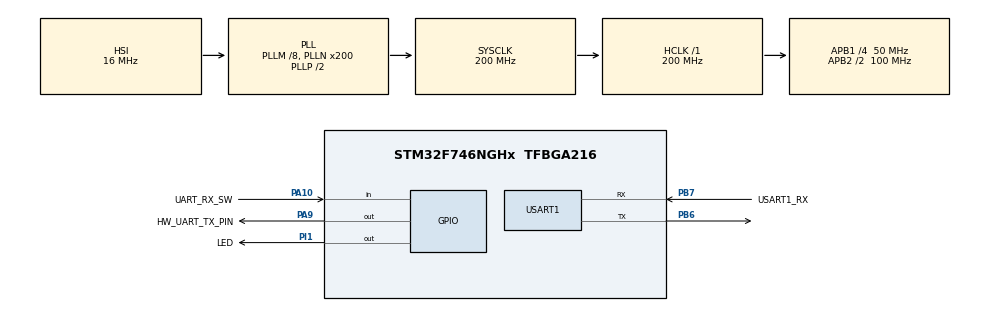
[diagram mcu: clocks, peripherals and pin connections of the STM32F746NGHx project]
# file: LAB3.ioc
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Mcu.Family=STM32F7
Mcu.Name=STM32F746NGHx
Mcu.Package=TFBGA216
NVIC.PriorityGroup=NVIC_PRIORITYGROUP_4
NVIC.TIM1_UP_TIM10_IRQn=true\:15\:0\:false\:false\:true\:false\:true
NVIC.TIM2_IRQn=true\:0\:0\:false\:false\:true\:true\:true
NVIC.TimeBase=TIM1_UP_TIM10_IRQn
NVIC.TimeBaseIP=TIM1
PA10.GPIO_Label=UART_RX_SW
PA10.Signal=GPIO_Input
PA9.GPIO_Label=HW_UART_TX_PIN
PA9.GPIO_Speed=GPIO_SPEED_FREQ_VERY_HIGH
PA9.PinState=GPIO_PIN_SET
PA9.Signal=GPIO_Output
PB6.Mode=Asynchronous
PB6.Signal=USART1_TX
PB7.GPIO_Label=USART1_RX
PB7.Mode=Asynchronous
PB7.Signal=USART1_RX
PI1.GPIO_Label=LED
PI1.GPIO_Speed=GPIO_SPEED_FREQ_VERY_HIGH
PI1.PinState=GPIO_PIN_SET
PI1.Signal=GPIO_Output
ProjectManager.HeapSize=0x200
ProjectManager.StackSize=0x400
ProjectManager.TargetToolchain=STM32CubeIDE
RCC.AHBFreq_Value=200000000
RCC.APB1CLKDivider=RCC_HCLK_DIV4
RCC.APB1Freq_Value=50000000
RCC.APB1TimFreq_Value=100000000
RCC.APB2CLKDivider=RCC_HCLK_DIV2
RCC.APB2Freq_Value=100000000
RCC.APB2TimFreq_Value=200000000
RCC.CortexFreq_Value=200000000
RCC.HCLKFreq_Value=200000000
RCC.HSE_VALUE=25000000
RCC.HSI_VALUE=16000000
RCC.LSE_VALUE=32768
RCC.PLLM=8
RCC.PLLN=200
RCC.SYSCLKFreq_VALUE=200000000
RCC.SYSCLKSource=RCC_SYSCLKSOURCE_PLLCLK
RCC.USBFreq_Value=200000000
RCC.VCOOutputFreq_Value=400000000
TIM2.AutoReloadPreload=TIM_AUTORELOAD_PRELOAD_ENABLE
TIM2.CounterMode=TIM_COUNTERMODE_DOWN
TIM2.Period=650
TIM2.Prescaler=0
USART1.VirtualMode-Asynchronous=VM_ASYNC
VP_SYS_VS_tim1.Mode=TIM1
VP_TIM2_VS_ClockSourceINT.Mode=Internal
board=STM32F746G-DISCO

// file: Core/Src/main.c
/* USER CODE BEGIN Header */
/**
 ******************************************************************************
 * @file           : main.c
 * @brief          : Main program body
 ******************************************************************************
 * @attention
 *
 * <h2><center>&copy; Copyright (c) 2023 STMicroelectronics.
 * All rights reserved.</center></h2>
 *
 * This software component is licensed by ST under BSD 3-Clause license,
 * the "License"; You may not use this file except in compliance with the
 * License. You may obtain a copy of the License at:
 *                        opensource.org/licenses/BSD-3-Clause
 *
 ******************************************************************************
 */
/* USER CODE END Header */
#include "main.h"

TIM_HandleTypeDef htim2;

UART_HandleTypeDef huart1;

void SystemClock_Config(void);
static void MX_GPIO_Init(void);
static void MX_USART1_UART_Init(void);
static void MX_TIM2_Init(void);

/* USER CODE BEGIN 0 */

uint8_t kees = 0;
uint8_t condition = 0;
uint8_t inputValue = 0;
uint8_t bitcounter = 0;

void sendChar(char);
void __attribute__((naked)) SysTickDelayCount(unsigned long);

/* USER CODE END 0 */

int main(void)
{

  /* MCU Configuration--------------------------------------------------------*/

  /* Reset of all peripherals, Initializes the Flash interface and the Systick. */
  HAL_Init();

  /* Configure the system clock */
  SystemClock_Config();

  /* Initialize all configured peripherals */
  MX_GPIO_Init();
  MX_USART1_UART_Init();
  MX_TIM2_Init();
  /* USER CODE BEGIN 2 */

	HAL_TIM_Base_Start_IT(&htim2);

  /* USER CODE END 2 */

  /* Infinite loop */
	while (1)
	{

    /* USER CODE BEGIN 3 */
		//sendChar('w');
		//HAL_Delay(10);

		/* 100MHz => 10ns clock periode
		 * 9600 BAUD => 50us
		 * 50us / 10ns = 5000 => 4999 (0)
		 *
		 * 153600 BAUD => 6.5*10^-6 => 6.5us
		 * 6.5us / 10ns => 650
		 *
		 *
		 */
	}
  /* USER CODE END 3 */
}

void SystemClock_Config(void)
{
  RCC_OscInitTypeDef RCC_OscInitStruct = {0};
  RCC_ClkInitTypeDef RCC_ClkInitStruct = {0};
  RCC_PeriphCLKInitTypeDef PeriphClkInitStruct = {0};

  /** Configure the main internal regulator output voltage
  */
  __HAL_RCC_PWR_CLK_ENABLE();
  __HAL_PWR_VOLTAGESCALING_CONFIG(PWR_REGULATOR_VOLTAGE_SCALE1);
  /** Initializes the RCC Oscillators according to the specified parameters
  * in the RCC_OscInitTypeDef structure.
  */
  RCC_OscInitStruct.OscillatorType = RCC_OSCILLATORTYPE_HSI;
  RCC_OscInitStruct.HSIState = RCC_HSI_ON;
  RCC_OscInitStruct.HSICalibrationValue = RCC_HSICALIBRATION_DEFAULT;
  RCC_OscInitStruct.PLL.PLLState = RCC_PLL_ON;
  RCC_OscInitStruct.PLL.PLLSource = RCC_PLLSOURCE_HSI;
  RCC_OscInitStruct.PLL.PLLM = 8;
  RCC_OscInitStruct.PLL.PLLN = 200;
  RCC_OscInitStruct.PLL.PLLP = RCC_PLLP_DIV2;
  RCC_OscInitStruct.PLL.PLLQ = 2;
  if (HAL_RCC_OscConfig(&RCC_OscInitStruct) != HAL_OK)
  {
    Error_Handler();
  }
  /** Activate the Over-Drive mode
  */
  if (HAL_PWREx_EnableOverDrive() != HAL_OK)
  {
    Error_Handler();
  }
  /** Initializes the CPU, AHB and APB buses clocks
  */
  RCC_ClkInitStruct.ClockType = RCC_CLOCKTYPE_HCLK|RCC_CLOCKTYPE_SYSCLK
                              |RCC_CLOCKTYPE_PCLK1|RCC_CLOCKTYPE_PCLK2;
  RCC_ClkInitStruct.SYSCLKSource = RCC_SYSCLKSOURCE_PLLCLK;
  RCC_ClkInitStruct.AHBCLKDivider = RCC_SYSCLK_DIV1;
  RCC_ClkInitStruct.APB1CLKDivider = RCC_HCLK_DIV4;
  RCC_ClkInitStruct.APB2CLKDivider = RCC_HCLK_DIV2;

  if (HAL_RCC_ClockConfig(&RCC_ClkInitStruct, FLASH_LATENCY_6) != HAL_OK)
  {
    Error_Handler();
  }
  PeriphClkInitStruct.PeriphClockSelection = RCC_PERIPHCLK_USART1;
  PeriphClkInitStruct.Usart1ClockSelection = RCC_USART1CLKSOURCE_PCLK2;
  if (HAL_RCCEx_PeriphCLKConfig(&PeriphClkInitStruct) != HAL_OK)
  {
    Error_Handler();
  }
}

static void MX_TIM2_Init(void)
{

  TIM_ClockConfigTypeDef sClockSourceConfig = {0};
  TIM_MasterConfigTypeDef sMasterConfig = {0};

  htim2.Instance = TIM2;
  htim2.Init.Prescaler = 0;
  htim2.Init.CounterMode = TIM_COUNTERMODE_DOWN;
  htim2.Init.Period = 650;
  htim2.Init.ClockDivision = TIM_CLOCKDIVISION_DIV1;
  htim2.Init.AutoReloadPreload = TIM_AUTORELOAD_PRELOAD_ENABLE;
  if (HAL_TIM_Base_Init(&htim2) != HAL_OK)
  {
    Error_Handler();
  }
  sClockSourceConfig.ClockSource = TIM_CLOCKSOURCE_INTERNAL;
  if (HAL_TIM_ConfigClockSource(&htim2, &sClockSourceConfig) != HAL_OK)
  {
    Error_Handler();
  }
  sMasterConfig.MasterOutputTrigger = TIM_TRGO_RESET;
  sMasterConfig.MasterSlaveMode = TIM_MASTERSLAVEMODE_DISABLE;
  if (HAL_TIMEx_MasterConfigSynchronization(&htim2, &sMasterConfig) != HAL_OK)
  {
    Error_Handler();
  }

}

static void MX_USART1_UART_Init(void)
{

  huart1.Instance = USART1;
  huart1.Init.BaudRate = 115200;
  huart1.Init.WordLength = UART_WORDLENGTH_8B;
  huart1.Init.StopBits = UART_STOPBITS_1;
  huart1.Init.Parity = UART_PARITY_NONE;
  huart1.Init.Mode = UART_MODE_TX_RX;
  huart1.Init.HwFlowCtl = UART_HWCONTROL_NONE;
  huart1.Init.OverSampling = UART_OVERSAMPLING_16;
  huart1.Init.OneBitSampling = UART_ONE_BIT_SAMPLE_DISABLE;
  huart1.AdvancedInit.AdvFeatureInit = UART_ADVFEATURE_NO_INIT;
  if (HAL_UART_Init(&huart1) != HAL_OK)
  {
    Error_Handler();
  }

}

static void MX_GPIO_Init(void)
{
  GPIO_InitTypeDef GPIO_InitStruct = {0};

  /* GPIO Ports Clock Enable */
  __HAL_RCC_GPIOB_CLK_ENABLE();
  __HAL_RCC_GPIOI_CLK_ENABLE();
  __HAL_RCC_GPIOA_CLK_ENABLE();

  /*Configure GPIO pin Output Level */
  HAL_GPIO_WritePin(LED_GPIO_Port, LED_Pin, GPIO_PIN_SET);

  /*Configure GPIO pin Output Level */
  HAL_GPIO_WritePin(HW_UART_TX_PIN_GPIO_Port, HW_UART_TX_PIN_Pin, GPIO_PIN_SET);

  /*Configure GPIO pin : LED_Pin */
  GPIO_InitStruct.Pin = LED_Pin;
  GPIO_InitStruct.Mode = GPIO_MODE_OUTPUT_PP;
  GPIO_InitStruct.Pull = GPIO_NOPULL;
  GPIO_InitStruct.Speed = GPIO_SPEED_FREQ_VERY_HIGH;
  HAL_GPIO_Init(LED_GPIO_Port, &GPIO_InitStruct);

  /*Configure GPIO pin : UART_RX_SW_Pin */
  GPIO_InitStruct.Pin = UART_RX_SW_Pin;
  GPIO_InitStruct.Mode = GPIO_MODE_INPUT;
  GPIO_InitStruct.Pull = GPIO_NOPULL;
  HAL_GPIO_Init(UART_RX_SW_GPIO_Port, &GPIO_InitStruct);

  /*Configure GPIO pin : HW_UART_TX_PIN_Pin */
  GPIO_InitStruct.Pin = HW_UART_TX_PIN_Pin;
  GPIO_InitStruct.Mode = GPIO_MODE_OUTPUT_PP;
  GPIO_InitStruct.Pull = GPIO_NOPULL;
  GPIO_InitStruct.Speed = GPIO_SPEED_FREQ_VERY_HIGH;
  HAL_GPIO_Init(HW_UART_TX_PIN_GPIO_Port, &GPIO_InitStruct);

}

/* USER CODE BEGIN 4 */
void sendChar(char data){
#define BAUDRATE 9600;	//104.2µs -> interpolatie -> 20750

	uint8_t output = 0x00;
	uint8_t mask = 0x01;
	uint8_t shift = 0x00;

	//init
	HAL_GPIO_WritePin(HW_UART_TX_PIN_GPIO_Port, HW_UART_TX_PIN_Pin, 1);
	//HAL_GPIO_WritePin(LED_GPIO_Port, LED_Pin, 1);
	SysTickDelayCount(20750);

	//startbit
	HAL_GPIO_WritePin(HW_UART_TX_PIN_GPIO_Port, HW_UART_TX_PIN_Pin, 0);
	//HAL_GPIO_WritePin(LED_GPIO_Port, LED_Pin, 0);
	SysTickDelayCount(20750);

	shift = data;

	for(int i = 0; i < 8;i++){

		output = shift & mask;

		if(output == 0x01){
			HAL_GPIO_WritePin(HW_UART_TX_PIN_GPIO_Port, HW_UART_TX_PIN_Pin, 1);
			//HAL_GPIO_WritePin(LED_GPIO_Port, LED_Pin, 1);
		}
		else{
			HAL_GPIO_WritePin(HW_UART_TX_PIN_GPIO_Port, HW_UART_TX_PIN_Pin, 0);
			//HAL_GPIO_WritePin(LED_GPIO_Port, LED_Pin, 0);
		}
		SysTickDelayCount(20750);
		shift = (shift >> 1);
	}

	//stopbit
	HAL_GPIO_WritePin(HW_UART_TX_PIN_GPIO_Port, HW_UART_TX_PIN_Pin, 1);
	//HAL_GPIO_WritePin(LED_GPIO_Port, LED_Pin, 1);
	SysTickDelayCount(20750);

}

void __attribute__((naked)) SysTickDelayCount(unsigned long ulCount)
														{
	__asm("    subs    r0, #1\n"
			"    bne.n     SysTickDelayCount\n"
			"    bx      lr");
														}

/* USER CODE END 4 */

void HAL_TIM_PeriodElapsedCallback(TIM_HandleTypeDef *htim)
{
  /* USER CODE BEGIN Callback 0 */
	/*condition
	 * 0 idle / start bit
	 * 2 farming bits
	 * 3 stop bit
	 *
	 *
	 *
	 */
	if (htim->Instance == TIM2) {
		HAL_GPIO_TogglePin(LED_GPIO_Port, LED_Pin);
		switch(condition){
		case 0:
			if(HAL_GPIO_ReadPin(USART1_RX_GPIO_Port, USART1_RX_Pin) == 0){
				if(kees == 8){
					kees = 0;
					condition = 1;
				}
				else{
					kees++;
				}
			}
			break;
		case 1:
			if(kees == 15){
				kees = 0;
				if(bitcounter == 8){
					bitcounter = 0;
					condition = 2;
				}
				bitcounter++;
			}
			else if(kees == 7){
				uint8_t inputbit = 0;
				inputbit = HAL_GPIO_ReadPin(USART1_RX_GPIO_Port, USART1_RX_Pin);
				inputValue = (inputValue << 1);
				inputValue &= inputbit;
			}
			else{
				kees++;
			}
			break;
		case 2:
			sendChar(inputValue);
			condition = 0;
			break;
		}

	}
  /* USER CODE END Callback 0 */
  if (htim->Instance == TIM1) {
    HAL_IncTick();
  }
}

void Error_Handler(void)
{
	__disable_irq();
	while (1)
	{
	}
}

/************************ (C) COPYRIGHT STMicroelectronics *****END OF FILE****/
